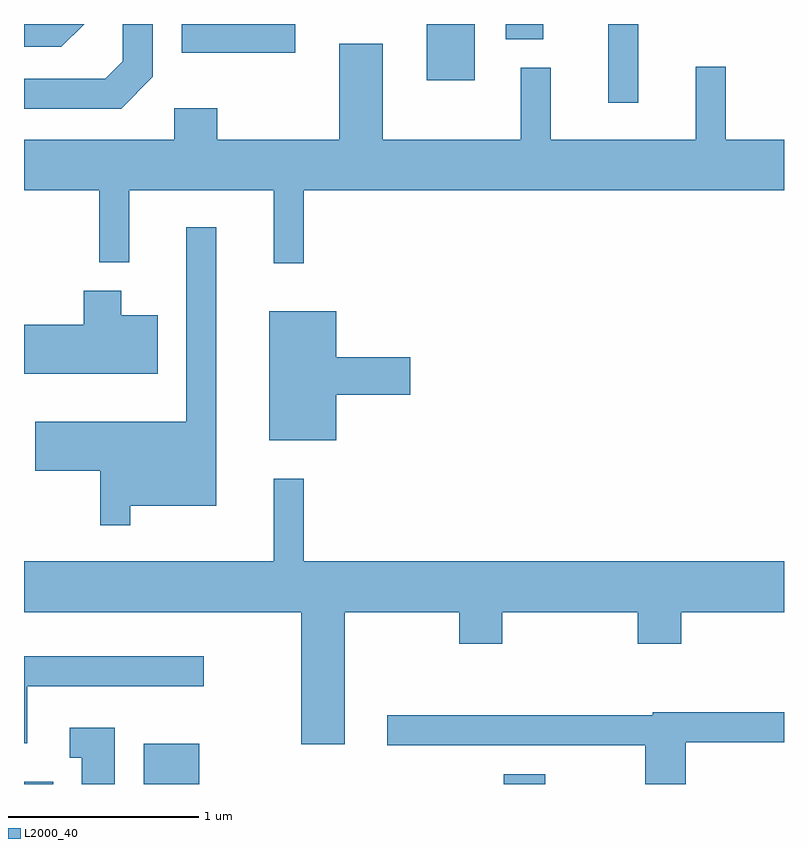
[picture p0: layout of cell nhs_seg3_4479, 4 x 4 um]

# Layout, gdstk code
import gdstk
lib = gdstk.Library(unit=1e-6, precision=1e-09)
def R(c, l, rs):  # rectangles x0, y0, x1, y1
    for r in rs: c.add(gdstk.rectangle(r[:2], r[2:], *l))
def P(c, l, *ps):  # polygons
    for p in ps: c.add(gdstk.Polygon(p, *l))
L2000_40 = (2000, 40)

nhs_seg3_4479 = lib.new_cell('nhs_seg3_4479')
R(nhs_seg3_4479, L2000_40, [(315.611,1233.892,315.764,1233.904), (316.241,1233.892,316.534,1234.104), (318.136,1233.892,318.354,1233.944), (318.686,1237.478,318.844,1237.892), (317.731,1237.596,317.984,1237.892), (316.441,1237.741,317.039,1237.892), (318.146,1237.811,318.344,1237.892)])
P(nhs_seg3_4479, L2000_40, [(316.289,1237.614),(316.289,1237.892),(316.131,1237.892),(316.131,1237.697),(316.039,1237.604),(315.611,1237.604),(315.611,1237.446),(316.122,1237.446)],
  [(315.927,1237.892),(315.611,1237.892),(315.611,1237.771),(315.807,1237.771)],
  [(317.084,1237.016),(319.611,1237.016),(319.611,1237.284),(319.304,1237.284),(319.304,1237.668),(319.146,1237.668),(319.146,1237.284),(318.384,1237.284),(318.384,1237.663),(318.226,1237.663),(318.226,1237.284),(317.499,1237.284),(317.499,1237.789),(317.271,1237.789),(317.271,1237.284),(316.629,1237.284),(316.629,1237.449),(316.401,1237.449),(316.401,1237.284),(315.611,1237.284),(315.611,1237.016),(316.006,1237.016),(316.006,1236.638),(316.164,1236.638),(316.164,1237.016),(316.926,1237.016),(316.926,1236.633),(317.084,1236.633)],
  [(316.169,1235.356),(316.624,1235.356),(316.624,1236.823),(316.466,1236.823),(316.466,1235.799),(315.671,1235.799),(315.671,1235.541),(316.011,1235.541),(316.011,1235.253),(316.169,1235.253)],
  [(316.314,1236.359),(316.124,1236.359),(316.124,1236.489),(315.926,1236.489),(315.926,1236.309),(315.611,1236.309),(315.611,1236.051),(316.314,1236.051)],
  [(317.254,1235.941),(317.644,1235.941),(317.644,1236.139),(317.254,1236.139),(317.254,1236.379),(316.901,1236.379),(316.901,1235.701),(317.254,1235.701)],
  [(317.299,1234.796),(317.901,1234.796),(317.901,1234.631),(318.129,1234.631),(318.129,1234.796),(318.841,1234.796),(318.841,1234.631),(319.069,1234.631),(319.069,1234.796),(319.611,1234.796),(319.611,1235.064),(317.084,1235.064),(317.084,1235.498),(316.926,1235.498),(316.926,1235.064),(315.611,1235.064),(315.611,1234.796),(317.071,1234.796),(317.071,1234.101),(317.299,1234.101)],
  [(315.629,1234.406),(316.558,1234.406),(316.558,1234.564),(315.611,1234.564),(315.611,1234.106),(315.629,1234.106)],
  [(319.094,1234.111),(319.611,1234.111),(319.611,1234.269),(318.92,1234.269),(318.92,1234.254),(317.523,1234.254),(317.523,1234.096),(318.881,1234.096),(318.881,1233.892),(319.094,1233.892)],
  [(316.089,1234.189),(315.853,1234.189),(315.853,1234.031),(315.916,1234.031),(315.916,1233.892),(316.089,1233.892)])

lib.write_gds('nhs_seg3_4479.gds')
